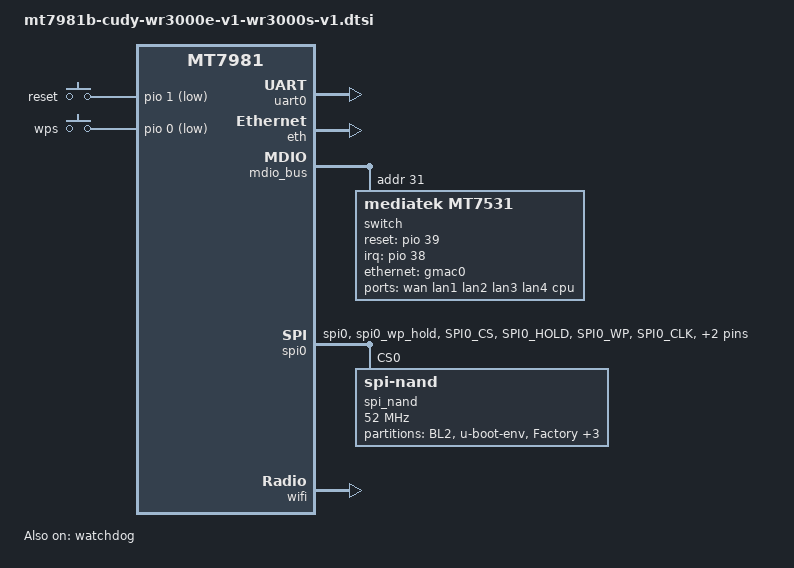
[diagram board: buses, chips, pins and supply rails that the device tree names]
// SPDX-License-Identifier: (GPL-2.0 OR MIT)

#include <dt-bindings/leds/common.h>
#include "mt7981.dtsi"

/ {
	chosen {
		stdout-path = "serial0:115200n8";
	};

	gpio-keys {
		compatible = "gpio-keys";

		reset {
			label = "reset";
			linux,code = <KEY_RESTART>;
			gpios = <&pio 1 GPIO_ACTIVE_LOW>;
		};

		wps {
			label = "wps";
			linux,code = <KEY_WPS_BUTTON>;
			gpios = <&pio 0 GPIO_ACTIVE_LOW>;
		};
	};
};

&uart0 {
	status = "okay";
};

&watchdog {
	status = "okay";
};

&eth {
	pinctrl-names = "default";
	pinctrl-0 = <&mdio_pins>;
	status = "okay";

	gmac0: mac@0 {
		compatible = "mediatek,eth-mac";
		reg = <0>;
		phy-mode = "2500base-x";

		nvmem-cell-names = "mac-address";
		nvmem-cells = <&macaddr_bdinfo_de00 0>;

		fixed-link {
			speed = <2500>;
			full-duplex;
			pause;
		};
	};
};

&mdio_bus {
	switch: switch@1f {
		compatible = "mediatek,mt7531";
		reg = <31>;
		reset-gpios = <&pio 39 GPIO_ACTIVE_HIGH>;
		interrupt-controller;
		#interrupt-cells = <1>;
		interrupt-parent = <&pio>;
		interrupts = <38 IRQ_TYPE_LEVEL_HIGH>;
	};
};

&spi0 {
	pinctrl-names = "default";
	pinctrl-0 = <&spi0_flash_pins>;
	status = "okay";

	spi_nand: flash@0 {
		#address-cells = <1>;
		#size-cells = <1>;
		compatible = "spi-nand";
		reg = <0>;
		spi-max-frequency = <52000000>;

		spi-cal-enable;
		spi-cal-mode = "read-data";
		spi-cal-datalen = <7>;
		spi-cal-data = /bits/ 8 <0x53 0x50 0x49 0x4E 0x41 0x4E 0x44>;
		spi-cal-addrlen = <5>;
		spi-cal-addr = /bits/ 32 <0x0 0x0 0x0 0x0 0x0>;

		spi-tx-bus-width = <4>;
		spi-rx-bus-width = <4>;
		mediatek,nmbm;
		mediatek,bmt-max-ratio = <1>;
		mediatek,bmt-max-reserved-blocks = <64>;

		partitions {
			compatible = "fixed-partitions";
			#address-cells = <1>;
			#size-cells = <1>;

			partition@0 {
				label = "BL2";
				reg = <0x00000 0x0100000>;
				read-only;
			};

			partition@100000 {
				label = "u-boot-env";
				reg = <0x0100000 0x0080000>;
				read-only;
			};

			partition@180000 {
				label = "Factory";
				reg = <0x180000 0x0200000>;
				read-only;

				nvmem-layout {
					compatible = "fixed-layout";
					#address-cells = <1>;
					#size-cells = <1>;

					eeprom_factory_0: eeprom@0 {
						reg = <0x0 0x1000>;
					};
				};
			};

			partition@380000 {
				label = "bdinfo";
				reg = <0x380000 0x0040000>;
				read-only;

				nvmem-layout {
					compatible = "fixed-layout";
					#address-cells = <1>;
					#size-cells = <1>;

					macaddr_bdinfo_de00: macaddr@de00 {
						compatible = "mac-base";
						reg = <0xde00 0x6>;
						#nvmem-cell-cells = <1>;
					};
				};
			};

			partition@3c0000 {
				label = "FIP";
				reg = <0x3c0000 0x0200000>;
				read-only;
			};

			partition@5c0000 {
				label = "ubi";
				reg = <0x5c0000 0x4000000>;
				compatible = "linux,ubi";
			};
		};
	};
};

&pio {
	spi0_flash_pins: spi0-pins {
		mux {
			function = "spi";
			groups = "spi0", "spi0_wp_hold";
		};
		conf-pu {
			pins = "SPI0_CS", "SPI0_HOLD", "SPI0_WP";
			drive-strength = <MTK_DRIVE_8mA>;
			bias-pull-up = <MTK_PUPD_SET_R1R0_11>;
		};

		conf-pd {
			pins = "SPI0_CLK", "SPI0_MOSI", "SPI0_MISO";
			drive-strength = <MTK_DRIVE_8mA>;
			bias-pull-down = <MTK_PUPD_SET_R1R0_11>;
		};
	};
};

&switch {
	ports {
		#address-cells = <1>;
		#size-cells = <0>;

		port@0 {
			reg = <0>;
			label = "wan";

			nvmem-cell-names = "mac-address";
			nvmem-cells = <&macaddr_bdinfo_de00 1>;
		};

		port@1 {
			reg = <1>;
			label = "lan1";
		};

		port@2 {
			reg = <2>;
			label = "lan2";
		};

		port@3 {
			reg = <3>;
			label = "lan3";
		};

		port@4 {
			reg = <4>;
			label = "lan4";
		};

		port@6 {
			reg = <6>;
			label = "cpu";
			ethernet = <&gmac0>;
			phy-mode = "2500base-x";

			fixed-link {
				speed = <2500>;
				full-duplex;
				pause;
			};
		};
	};
};

&wifi {
	status = "okay";
	nvmem-cells = <&eeprom_factory_0>;
	nvmem-cell-names = "eeprom";
};
